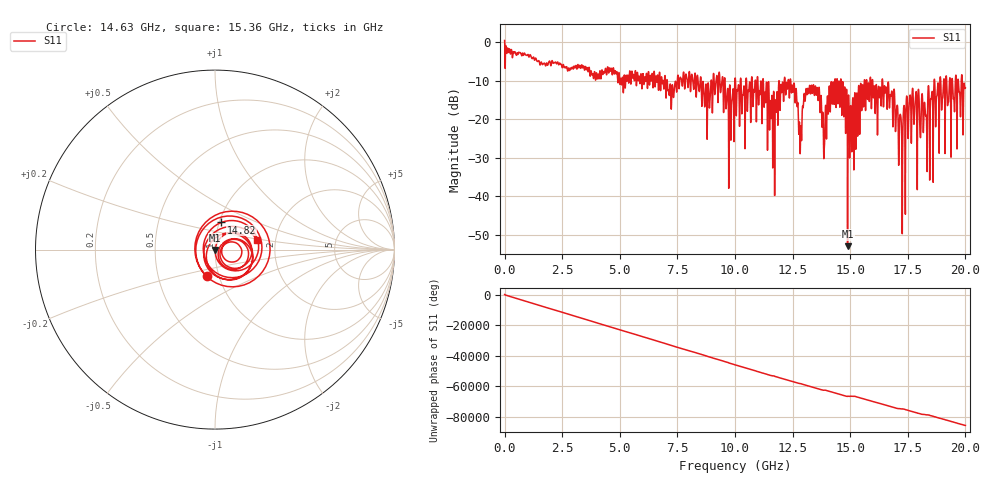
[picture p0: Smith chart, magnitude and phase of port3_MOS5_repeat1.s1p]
! MS46122B
! 2250307/22442219
! 7/26/2025 10:31:44 AM
! C:\USERS\SPARKY\DOCUMENTS\VNA_DATA\JULY26_2025\295K\PORT3_MOS5_REPEAT1.S1P
! CHANNEL.1
! TR.MEASUREMENT
! RAW.DATA
# GHZ S RI R 50.0
! FREQ.GHZ  S11RE  S11IM
!; PortSelection: Port_1
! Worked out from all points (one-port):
!   10001 points, 1 MHz to 20 GHz, reference 50 ohm
!   lowest |S11| = -52.9 dB at 14.89 GHz (marker M1), VSWR 1.00, Z = 50.2 - j0.161 ohm
!   |S11| at or under -10 dB: 12.42 GHz to 14.33 GHz (1.917 GHz wide, 14.3 % of centre); 14.6 GHz to 15.62 GHz (1.011 GHz wide, 6.69 % of centre); 16.41 GHz to 18.64 GHz (2.236 GHz wide, 12.8 % of centre) (the widest 3 of 69)
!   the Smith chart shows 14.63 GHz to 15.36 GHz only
!   S11 on the Smith chart (normalised r, x): 14.63 GHz: 0.87, -0.27; 14.82 GHz: 1.02, +0.32; 15.36 GHz: 1.60, +0.18
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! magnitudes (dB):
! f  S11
! 1 MHz  0.4
! 2.501 GHz  -6.6
! 5.001 GHz  -10.7
! 7.501 GHz  -9.7
! 9.383 GHz  -12.8
! 10 GHz  -9.5
! 11.05 GHz  -12.9
! 11.64 GHz  -25.1
! 11.98 GHz  -11.4
! 12.5 GHz  -11.6
! 12.84 GHz  -27.3
! 13.16 GHz  -12.0
! 13.57 GHz  -12.0
! 13.88 GHz  -27.1
! 14.17 GHz  -10.4
! 14.63 GHz  -16.1
! 14.82 GHz  -16.2
! 14.89 GHz  -52.9
! 15 GHz  -18.5
! 15.36 GHz  -12.3
! 16.58 GHz  -12.8
! 16.98 GHz  -21.8
! 17.19 GHz  -18.9
! 17.5 GHz  -21.1
! 17.78 GHz  -19.4
! 18.26 GHz  -17.8
! 18.73 GHz  -16.4
! 20 GHz  -11.9
